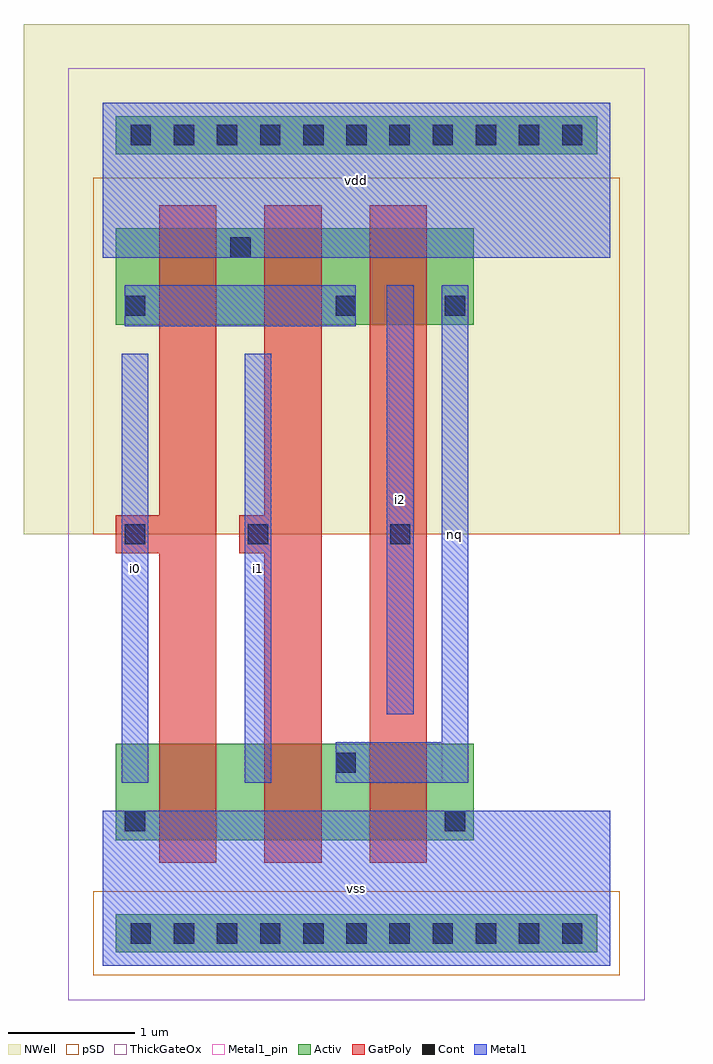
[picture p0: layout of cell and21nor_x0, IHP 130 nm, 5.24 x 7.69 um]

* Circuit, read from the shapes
.subckt and21nor_x0 i0 i1 i2 nq vdd vss
XM1 n1 i0 vss vss sg13_hv_nmos w=0.76u l=0.45u
XM2 nq i1 n1 vss sg13_hv_nmos w=0.76u l=0.45u
XM3 vss i2 nq vss sg13_hv_nmos w=0.76u l=0.45u
XM4 vdd i0 n2 vdd sg13_hv_pmos w=0.76u l=0.45u
XM5 n2 i1 vdd vdd sg13_hv_pmos w=0.76u l=0.45u
XM6 nq i2 n2 vdd sg13_hv_pmos w=0.76u l=0.45u
.ends

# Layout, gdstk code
import gdstk
lib = gdstk.Library(unit=1e-6, precision=1e-09)
def R(c, l, rs):  # rectangles x0, y0, x1, y1
    for r in rs: c.add(gdstk.rectangle(r[:2], r[2:], *l))
def A(c, l, x, y, w, h, nx, ny, dx, dy):  # array of equal rectangles
    R(c, l, [(x+i*dx, y+j*dy, x+i*dx+w, y+j*dy+h) for i in range(nx) for j in range(ny)])
def P(c, l, *ps):  # polygons
    for p in ps: c.add(gdstk.Polygon(p, *l))
Activ = (1, 0)
GatPoly = (5, 0)
Cont = (6, 0)
Metal1 = (8, 0)
Metal1_pin = (8, 2)
pSD = (14, 0)
NWell = (31, 0)
ThickGateOx = (44, 0)

and21nor_x0 = lib.new_cell('and21nor_x0')
R(and21nor_x0, Activ, [(0.105,0.105,3.895,0.405), (0.105,0.99,2.925,1.75), (0.105,5.05,2.925,5.81), (0.105,6.395,3.895,6.695)])
R(and21nor_x0, GatPoly, [(2.105,0.81,2.555,5.99)])
P(and21nor_x0, GatPoly, [(0.445,0.81),(0.445,3.25),(0.105,3.25),(0.105,3.55),(0.445,3.55),(0.445,5.99),(0.895,5.99),(0.895,0.81)],
  [(1.275,0.81),(1.275,3.25),(1.075,3.25),(1.075,3.55),(1.275,3.55),(1.275,5.99),(1.725,5.99),(1.725,0.81)])
A(and21nor_x0, Cont, 0.22, 0.175, 0.16, 0.16, 11, 2, 0.34, 6.29)
R(and21nor_x0, Cont, [(0.175,1.06,0.335,1.22), (2.695,1.06,2.855,1.22), (1.835,1.52,1.995,1.68), (0.175,3.32,0.335,3.48), (1.145,3.32,1.305,3.48), (2.265,3.32,2.425,3.48), (0.175,5.12,0.335,5.28), (1.835,5.12,1.995,5.28), (2.695,5.12,2.855,5.28), (1.005,5.58,1.165,5.74)])
R(and21nor_x0, Metal1, [(0,0,4,1.22), (0.15,1.44,0.36,4.82), (1.12,1.44,1.33,4.82), (2.24,1.98,2.45,5.36), (0.175,5.04,1.995,5.36), (0,5.58,4,6.8)])
P(and21nor_x0, Metal1, [(1.835,1.44),(1.835,1.76),(2.67,1.76),(2.67,5.36),(2.88,5.36),(2.88,1.44)])
R(and21nor_x0, Metal1_pin, [(0,0,4,1.22), (0.15,1.44,0.36,4.82), (1.12,1.44,1.33,4.82), (2.67,1.44,2.88,5.36), (2.24,1.98,2.45,5.36), (0,5.58,4,6.8)])
R(and21nor_x0, pSD, [(-0.075,-0.075,4.075,0.585), (-0.075,3.4,4.075,6.21)])
R(and21nor_x0, NWell, [(-0.62,3.4,4.62,7.42)])
R(and21nor_x0, ThickGateOx, [(-0.27,-0.27,4.27,7.07)])
and21nor_x0.add(gdstk.Label('vss', (2,0.61), layer=8, texttype=2))
and21nor_x0.add(gdstk.Label('vdd', (2,6.19), layer=8, texttype=2))
and21nor_x0.add(gdstk.Label('i0', (0.255,3.13), layer=8, texttype=2))
and21nor_x0.add(gdstk.Label('nq', (2.775,3.4), layer=8, texttype=2))
and21nor_x0.add(gdstk.Label('i1', (1.225,3.13), layer=8, texttype=2))
and21nor_x0.add(gdstk.Label('i2', (2.345,3.67), layer=8, texttype=2))

lib.write_gds('and21nor_x0.gds')
